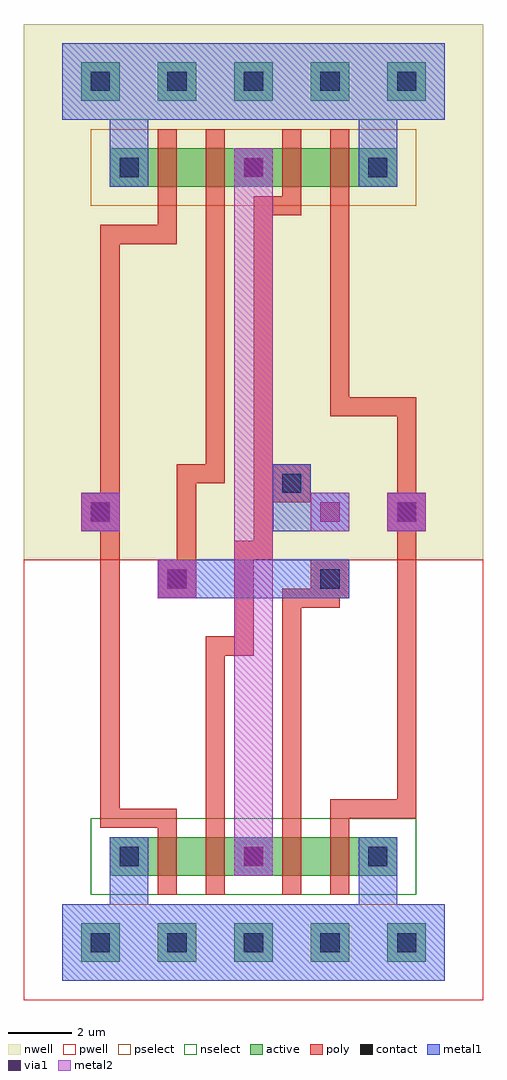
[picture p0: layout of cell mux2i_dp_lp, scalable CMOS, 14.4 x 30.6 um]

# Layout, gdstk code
import gdstk
lib = gdstk.Library(unit=1e-6, precision=1e-09)
def R(c, l, rs):  # rectangles x0, y0, x1, y1
    for r in rs: c.add(gdstk.rectangle(r[:2], r[2:], *l))
def A(c, l, x, y, w, h, nx, ny, dx, dy):  # array of equal rectangles
    R(c, l, [(x+i*dx, y+j*dy, x+i*dx+w, y+j*dy+h) for i in range(nx) for j in range(ny)])
contact = (25, 0)
pwell = (41, 0)
nwell = (42, 0)
active = (43, 0)
pselect = (44, 0)
nselect = (45, 0)
poly = (46, 0)
metal1 = (49, 0)
via1 = (50, 0)
metal2 = (51, 0)

mux2i_dp_lp = lib.new_cell('mux2i_dp_lp')
A(mux2i_dp_lp, contact, 0.3, -0.3, 0.6, 0.6, 5, 2, 2.4, 27)
A(mux2i_dp_lp, contact, 1.2, 2.4, 0.6, 0.6, 3, 2, 3.9, 21.6)
R(mux2i_dp_lp, contact, [(2.7,11.1,3.3,11.7), (7.5,11.1,8.1,11.7), (0.3,13.2,0.9,13.8), (9.9,13.2,10.5,13.8), (6.3,14.1,6.9,14.7)])
A(mux2i_dp_lp, pwell, -0.9, -1.5, 3, 3, 5, 1, 2.4, 0)
A(mux2i_dp_lp, pwell, -0.9, 0.3, 4.8, 4.8, 3, 1, 3.9, 0)
R(mux2i_dp_lp, pwell, [(-1.8,-1.8,12.6,12), (-0.3,0.3,5.7,5.1), (1.2,0.3,7.2,5.1), (3.6,0.3,9.6,5.1), (5.1,0.3,11.1,5.1), (-0.75,0.45,3.825,4.95), (0.825,0.45,6.075,4.95), (3.075,0.45,7.65,4.95), (3.15,0.45,7.725,4.95), (4.725,0.45,9.975,4.95), (6.975,0.45,11.55,4.95)])
A(mux2i_dp_lp, nwell, -0.9, 21.9, 4.8, 4.8, 3, 1, 3.9, 0)
A(mux2i_dp_lp, nwell, -0.9, 25.5, 3, 3, 5, 1, 2.4, 0)
R(mux2i_dp_lp, nwell, [(-1.8,12,12.6,28.8), (-0.3,21.9,5.7,26.7), (1.2,21.9,7.2,26.7), (3.6,21.9,9.6,26.7), (5.1,21.9,11.1,26.7), (-0.75,22.05,3.825,26.55), (-0.675,22.05,3.825,26.7), (3.075,22.05,7.65,26.55), (3.075,22.05,7.575,26.7), (3.15,22.05,7.725,26.55), (4.725,22.05,9.975,26.55), (6.975,22.05,11.55,26.55), (0.825,22.2,6.075,26.7)])
A(mux2i_dp_lp, active, 0, -0.6, 1.2, 1.2, 5, 2, 2.4, 27)
A(mux2i_dp_lp, active, 0.9, 2.1, 1.2, 1.2, 3, 2, 3.9, 21.6)
R(mux2i_dp_lp, active, [(1.5,2.1,3.9,3.3), (3,2.1,5.4,3.3), (5.4,2.1,7.8,3.3), (6.9,2.1,9.3,3.3), (1.05,2.25,2.025,3.15), (2.625,2.25,4.275,3.15), (4.875,2.25,5.85,3.15), (4.95,2.25,5.925,3.15), (6.525,2.25,8.175,3.15), (8.775,2.25,9.75,3.15), (1.5,23.7,3.9,24.9), (3,23.7,5.4,24.9), (5.4,23.7,7.8,24.9), (6.9,23.7,9.3,24.9), (1.05,23.85,2.025,24.75), (1.125,23.85,2.025,24.9), (4.875,23.85,5.85,24.75), (4.875,23.85,5.775,24.9), (4.95,23.85,5.925,24.75), (6.525,23.85,8.175,24.75), (8.775,23.85,9.75,24.75), (2.625,24,4.275,24.9)])
A(mux2i_dp_lp, pselect, -0.6, -1.2, 2.4, 2.4, 5, 1, 2.4, 0)
A(mux2i_dp_lp, pselect, 0.3, 23.1, 2.4, 2.4, 3, 1, 3.9, 0)
R(mux2i_dp_lp, pselect, [(0.9,23.1,4.5,25.5), (2.4,23.1,6,25.5), (4.8,23.1,8.4,25.5), (6.3,23.1,9.9,25.5), (0.45,23.25,2.625,25.35), (0.525,23.25,2.625,25.5), (4.275,23.25,6.45,25.35), (4.275,23.25,6.375,25.5), (4.35,23.25,6.525,25.35), (5.925,23.25,8.775,25.35), (8.175,23.25,10.35,25.35), (2.025,23.4,4.875,25.5)])
A(mux2i_dp_lp, nselect, 0.3, 1.5, 2.4, 2.4, 3, 1, 3.9, 0)
A(mux2i_dp_lp, nselect, -0.6, 25.8, 2.4, 2.4, 5, 1, 2.4, 0)
R(mux2i_dp_lp, nselect, [(0.9,1.5,4.5,3.9), (2.4,1.5,6,3.9), (4.8,1.5,8.4,3.9), (6.3,1.5,9.9,3.9), (0.45,1.65,2.625,3.75), (2.025,1.65,4.875,3.75), (4.275,1.65,6.45,3.75), (4.35,1.65,6.525,3.75), (5.925,1.65,8.775,3.75), (8.175,1.65,10.35,3.75)])
R(mux2i_dp_lp, poly, [(2.4,1.5,3,3.9), (3.9,1.5,4.5,3.9), (6.3,1.5,6.9,3.9), (7.8,1.5,8.4,3.9), (0.6,3.6,3,4.2), (0.6,3.6,1.2,13.8), (3.9,3.6,4.5,9.6), (6.3,3.6,6.9,11.1), (7.8,3.6,8.4,4.5), (7.8,3.9,10.5,4.5), (9.9,3.9,10.5,13.8), (3.9,9,5.4,9.6), (4.8,9,5.4,12.6), (6.3,10.5,8.1,11.1), (7.5,10.5,8.1,11.7), (2.4,10.8,3.6,12), (7.2,10.8,8.4,12), (2.7,11.1,3.6,11.7), (2.7,11.1,3.3,11.7), (3,11.1,3.6,15), (4.8,12,6,12.6), (5.4,12,6,14.55), (0,12.9,1.2,14.1), (9.6,12.9,10.8,14.1), (0.3,13.2,1.2,13.8), (0.6,13.2,1.2,22.5), (9.9,13.2,10.5,17.1), (6,13.8,7.2,15), (5.4,13.95,6.9,14.55), (5.4,13.95,6,23.4), (3,14.4,4.5,15), (3.9,14.4,4.5,23.4), (7.8,16.5,10.5,17.1), (7.8,16.5,8.4,23.4), (0.6,21.9,3,22.5), (2.4,21.9,3,23.4), (5.4,22.8,6.9,23.4), (2.4,23.1,3,25.5), (3.9,23.1,4.5,25.5), (6.3,23.1,6.9,25.5), (7.8,23.1,8.4,25.5)])
A(mux2i_dp_lp, metal1, -0.6, -1.2, 4.8, 2.4, 3, 1, 2.4, 0)
A(mux2i_dp_lp, metal1, 0, -0.6, 1.2, 1.2, 5, 2, 2.4, 27)
R(mux2i_dp_lp, metal1, [(-0.6,-1.2,1.8,1.2), (-0.6,-1.2,4.2,1.2), (-0.6,-1.2,2.7,1.2), (-0.6,-1.2,2.7,1.2), (6.6,-1.2,10.5,1.2), (8.1,-1.2,11.4,1.2), (0.9,-0.6,2.1,3.3), (8.7,-0.6,9.9,3.3), (0.9,2.1,2.1,3.3), (4.8,2.1,6,3.3), (4.8,2.1,6,3.3), (8.7,2.1,9.9,3.3), (4.95,2.25,5.85,3.15), (2.4,10.8,3.6,12), (2.4,10.8,3.6,12), (2.4,10.8,3.6,12), (2.4,10.8,8.4,12), (7.2,10.8,8.4,12), (0,12.9,1.2,14.1), (0,12.9,1.2,14.1), (6,12.9,8.25,14.1), (6,12.9,7.2,15), (7.2,12.9,8.4,14.1), (9.6,12.9,10.8,14.1), (9.6,12.9,10.8,14.1), (0.15,13.05,1.05,13.95), (9.75,13.05,10.65,13.95), (6,13.8,7.2,15), (0.9,23.7,2.1,24.9), (0.9,23.7,2.1,27.6), (4.8,23.7,6,24.9), (4.8,23.7,6,24.9), (8.7,23.7,9.9,24.9), (8.7,23.7,9.9,27.6), (4.95,23.85,5.85,24.75), (-0.6,25.8,1.8,28.2), (-0.6,25.8,4.2,28.2), (0.3,25.8,4.2,28.2), (1.8,25.8,10.5,28.2), (8.1,25.8,11.4,28.2), (0,26.4,1.2,27.6), (4.8,26.4,8.4,27.6), (7.2,26.4,9.9,27.6), (9.6,26.4,10.8,27.6)])
R(mux2i_dp_lp, via1, [(5.1,2.4,5.7,3), (2.7,11.1,3.3,11.7), (0.3,13.2,0.9,13.8), (7.5,13.2,8.1,13.8), (9.9,13.2,10.5,13.8), (5.1,24,5.7,24.6)])
R(mux2i_dp_lp, metal2, [(4.8,2.1,6,3.3), (4.8,2.1,6,11.1), (4.8,9.9,6,24.9), (2.4,10.8,3.6,12), (0,12.9,1.2,14.1), (7.2,12.9,8.4,14.1), (9.6,12.9,10.8,14.1), (4.8,23.7,6,24.9)])

lib.write_gds('mux2i_dp_lp.gds')
